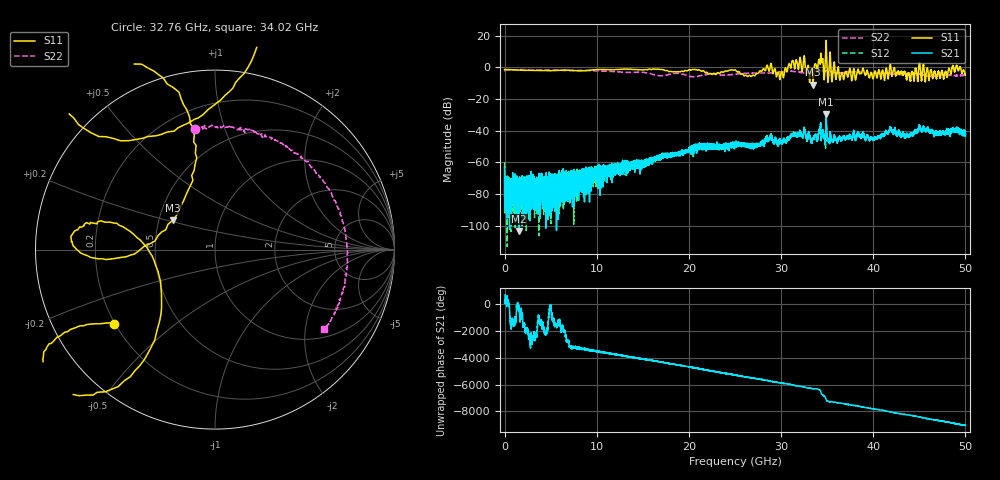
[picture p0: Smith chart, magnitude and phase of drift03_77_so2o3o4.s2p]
!Created with skrf (http://scikit-rf.org).
# Hz S RI R 50.0
!freq ReS11 ImS11 ReS21 ImS21 ReS12 ImS12 ReS22 ImS22
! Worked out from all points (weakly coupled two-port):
!   10001 points, 300 kHz to 50 GHz, reference 50 ohm
!   highest |S21| = -29.60 dB at 34.89 GHz (marker M1); lowest = -103.4 dB at 1.56 GHz (marker M2)
!   lowest |S11| = -10.9 dB at 33.47 GHz (marker M3), VSWR 1.80, Z = 29.6 + j10.5 ohm
!   |S11| at or under -10 dB: 33.44872 GHz to 33.48271 GHz (33.99 MHz wide, 0.102 % of centre)
!   |S22| runs from -5.9 to -1.3 dB; largest |S21 - S12| = 0.0085
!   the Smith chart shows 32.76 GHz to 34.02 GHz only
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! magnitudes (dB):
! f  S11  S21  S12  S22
! 300 kHz  -1.3  -63.1  -59.9  -2.0
! 255.3 MHz  -1.3  -77.8  -79.8  -1.4
! 1.56 GHz  -1.7  -103.4  -80.3  -1.4
! 8.335 GHz  -2.2  -68.3  -70.4  -1.9
! 16.67 GHz  -1.1  -56.3  -56.9  -5.2
! 25 GHz  -1.5  -49.0  -49.0  -4.3
! 26.92 GHz  -4.9  -50.2  -47.9  -3.5
! 28.73 GHz  -2.2  -45.4  -45.6  -3.5
! 30.06 GHz  -2.5  -48.3  -48.0  -2.8
! 31.87 GHz  -1.4  -42.1  -42.1  -2.9
! 33.34 GHz  -2.2  -47.6  -47.5  -2.9
! 33.47 GHz  -10.9  -45.0  -45.4  -2.8
! 34.29 GHz  6.2  -36.1  -35.4  -2.3
! 34.89 GHz  17.1  -29.6  -32.2  -2.3
! 36.58 GHz  -3.5  -45.8  -45.8  -3.6
! 40.19 GHz  -2.3  -44.3  -44.4  -3.7
! 41.67 GHz  -5.4  -40.9  -40.4  -3.7
! 43.84 GHz  -3.6  -43.4  -43.7  -3.8
! 45.18 GHz  -5.4  -39.4  -39.5  -4.5
! 47.83 GHz  -2.6  -40.9  -41.1  -4.7
! 49.21 GHz  -2.0  -38.0  -41.4  -5.1
! 50 GHz  -4.9  -42.2  -41.6  -4.9
